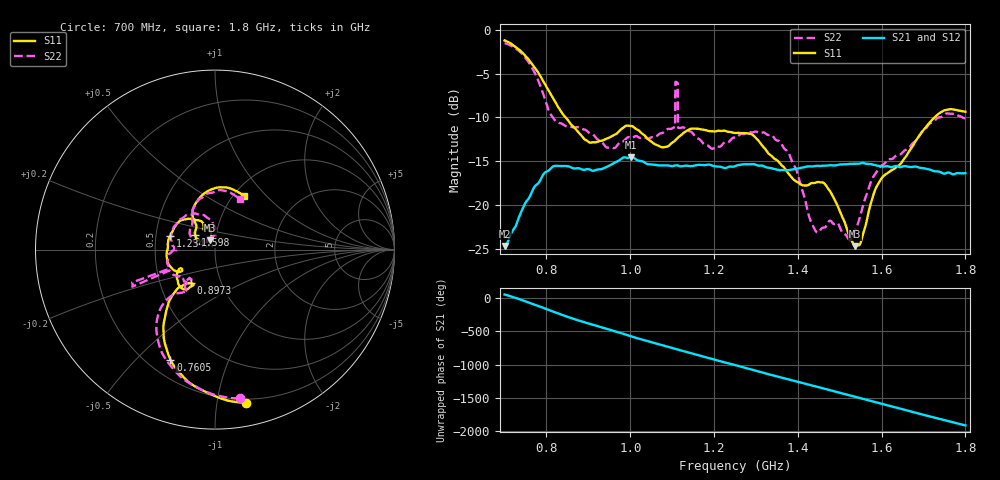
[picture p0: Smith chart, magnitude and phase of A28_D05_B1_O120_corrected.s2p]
! Created with skrf 1.9.0 (http://scikit-rf.org).
# Hz S RI R 50.0
!freq ReS11 ImS11 ReS21 ImS21 ReS12 ImS12 ReS22 ImS22
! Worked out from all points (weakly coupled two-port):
!   1601 points, 700 MHz to 1.8 GHz, reference 50 ohm
!   highest |S21| = -14.55 dB at 1.002 GHz (marker M1); lowest = -24.7 dB at 700 MHz (marker M2)
!   lowest |S11| = -24.7 dB at 1.537 GHz (marker M3), VSWR 1.12, Z = 47.2 + j4.93 ohm
!   |S11| at or under -10 dB: 845.5 MHz to 1.726 GHz (881 MHz wide, 68.5 % of centre)
!   |S22| runs from -24.0 to -1.5 dB; largest |S21 - S12| = 0.0036
!   S11 on the Smith chart (normalised r, x): 700 MHz: 0.17, -1.20; 760.5 MHz: 0.29, -0.63; 897.3 MHz: 0.71, -0.28; 1.234 GHz: 0.59, +0.10; 1.598 GHz: 0.79, +0.13; 1.8 GHz: 1.12, +0.76
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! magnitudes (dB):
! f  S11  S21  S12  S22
! 700 MHz  -1.2  -24.7  -24.5  -1.5
! 760.5 MHz  -3.6  -19.0  -18.9  -3.9
! 818.2 MHz  -8.0  -15.6  -15.7  -10.2
! 883.6 MHz  -12.1  -15.9  -15.8  -11.3
! 897.3 MHz  -12.7  -15.9  -16.0  -11.6
! 946.8 MHz  -12.4  -15.6  -15.6  -13.5
! 1.002 GHz  -11.0  -14.6  -14.7  -12.4
! 1.067 GHz  -13.2  -15.5  -15.4  -12.0
! 1.101 GHz  -12.9  -15.6  -15.5  -11.2
! 1.11 GHz  -12.5  -15.5  -15.6  -6.0
! 1.119 GHz  -12.1  -15.6  -15.5  -11.2
! 1.234 GHz  -11.7  -15.7  -15.7  -12.8
! 1.25 GHz  -11.8  -15.6  -15.5  -12.3
! 1.358 GHz  -15.3  -16.0  -16.0  -12.8
! 1.396 GHz  -17.3  -15.9  -15.9  -15.9
! 1.434 GHz  -17.5  -15.6  -15.6  -22.2
! 1.473 GHz  -18.2  -15.5  -15.5  -22.0
! 1.537 GHz  -24.7  -15.3  -15.3  -23.0
! 1.598 GHz  -17.1  -15.6  -15.6  -15.6
! 1.617 GHz  -16.3  -15.6  -15.6  -14.8
! 1.735 GHz  -9.6  -16.2  -16.2  -10.0
! 1.8 GHz  -9.4  -16.4  -16.4  -10.1
